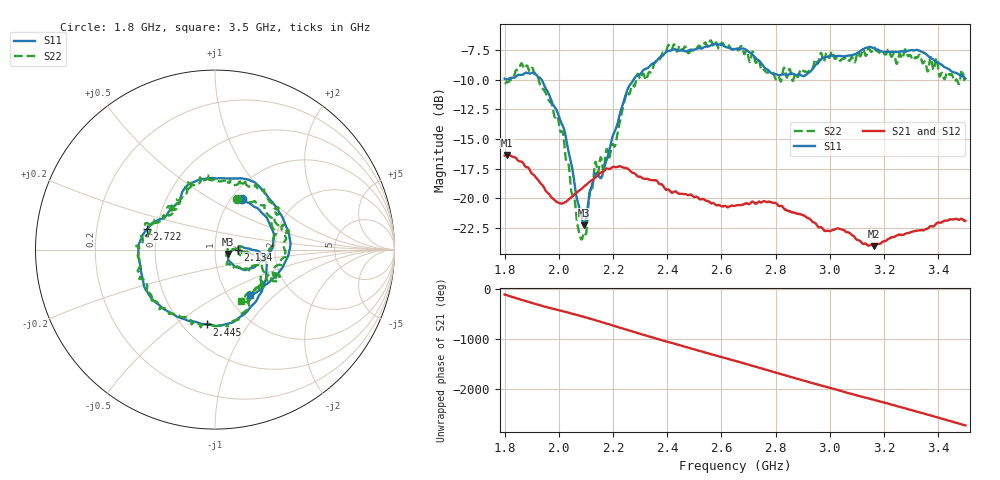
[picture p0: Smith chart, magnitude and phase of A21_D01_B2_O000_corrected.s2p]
! Created with skrf 1.9.0 (http://scikit-rf.org).
# Hz S RI R 50.0
!freq ReS11 ImS11 ReS21 ImS21 ReS12 ImS12 ReS22 ImS22
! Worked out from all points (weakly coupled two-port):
!   1601 points, 1.8 GHz to 3.5 GHz, reference 50 ohm
!   highest |S21| = -16.34 dB at 1.81 GHz (marker M1); lowest = -24.0 dB at 3.163 GHz (marker M2)
!   lowest |S11| = -22.3 dB at 2.093 GHz (marker M3), VSWR 1.17, Z = 57.9 - j2.77 ohm
!   |S11| at or under -10 dB: 1.937 GHz to 2.276 GHz (339 MHz wide, 16.1 % of centre)
!   |S22| runs from -23.4 to -6.7 dB; largest |S21 - S12| = 0.003
!   S11 on the Smith chart (normalised r, x): 1.8 GHz: 1.12, +0.70; 2.134 GHz: 1.29, -0.00; 2.445 GHz: 0.65, -0.66; 2.722 GHz: 0.44, +0.12; 3.5 GHz: 1.26, -0.71
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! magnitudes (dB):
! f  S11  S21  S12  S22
! 1.8 GHz  -9.9  -16.4  -16.4  -10.3
! 1.81 GHz  -10.0  -16.3  -16.4  -10.2
! 1.881 GHz  -9.4  -17.4  -17.4  -8.8
! 1.968 GHz  -11.5  -19.8  -19.8  -11.9
! 2.02 GHz  -14.2  -20.4  -20.4  -15.3
! 2.084 GHz  -21.6  -19.2  -19.2  -23.4
! 2.093 GHz  -22.3  -19.0  -19.0  -22.9
! 2.134 GHz  -18.0  -18.3  -18.3  -17.0
! 2.16 GHz  -18.1  -17.8  -17.7  -17.2
! 2.208 GHz  -14.3  -17.4  -17.3  -15.5
! 2.259 GHz  -10.5  -17.6  -17.6  -11.2
! 2.367 GHz  -8.2  -18.7  -18.6  -8.4
! 2.445 GHz  -7.5  -19.6  -19.6  -7.1
! 2.65 GHz  -7.4  -20.6  -20.6  -7.3
! 2.722 GHz  -8.1  -20.4  -20.3  -8.2
! 2.813 GHz  -9.6  -20.7  -20.5  -9.8
! 2.934 GHz  -9.2  -21.9  -21.9  -9.2
! 2.967 GHz  -8.3  -22.4  -22.5  -7.7
! 3.163 GHz  -7.3  -24.0  -24.0  -7.3
! 3.217 GHz  -7.7  -23.4  -23.4  -7.5
! 3.328 GHz  -7.5  -22.7  -22.7  -8.0
! 3.5 GHz  -9.9  -21.9  -21.9  -9.9
